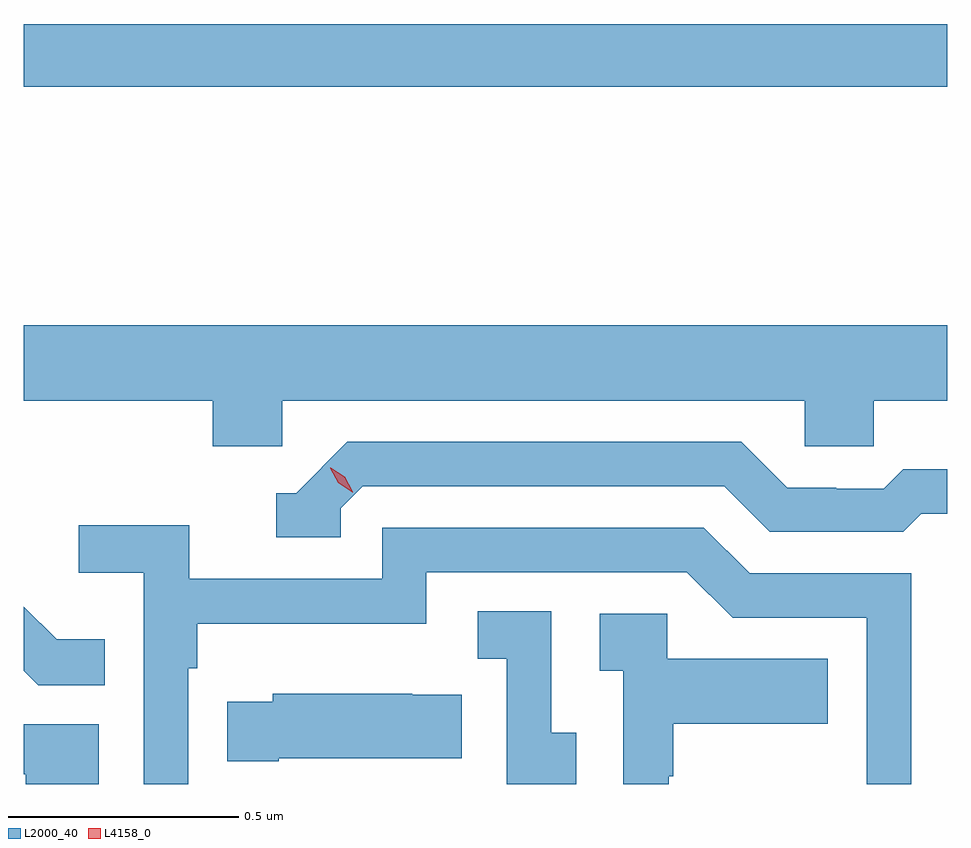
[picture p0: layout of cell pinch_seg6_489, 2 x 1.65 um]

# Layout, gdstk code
import gdstk
lib = gdstk.Library(unit=1e-6, precision=1e-09)
def R(c, l, rs):  # rectangles x0, y0, x1, y1
    for r in rs: c.add(gdstk.rectangle(r[:2], r[2:], *l))
def P(c, l, *ps):  # polygons
    for p in ps: c.add(gdstk.Polygon(p, *l))
L2000_40 = (2000, 40)
L4158_0 = (4158, 0)

pinch_seg6_489 = lib.new_cell('pinch_seg6_489')
R(pinch_seg6_489, L2000_40, [(877.516,933.364,879.516,933.5)])
P(pinch_seg6_489, L2000_40, [(878.076,932.684),(879.207,932.684),(879.207,932.586),(879.357,932.586),(879.357,932.684),(879.516,932.684),(879.516,932.848),(877.516,932.848),(877.516,932.684),(877.925,932.684),(877.925,932.586),(878.076,932.586)],
  [(878.202,932.451),(878.25,932.499),(879.033,932.499),(879.132,932.4),(879.421,932.4),(879.46,932.439),(879.516,932.439),(879.516,932.536),(879.421,932.536),(879.379,932.493),(879.276,932.493),(879.276,932.496),(879.169,932.496),(879.07,932.595),(878.217,932.595),(878.106,932.484),(878.063,932.484),(878.063,932.388),(878.202,932.388)],
  [(877.872,932.105),(877.892,932.105),(877.892,932.201),(878.388,932.201),(878.388,932.313),(878.952,932.313),(879.051,932.214),(879.342,932.214),(879.342,931.854),(879.438,931.854),(879.438,932.31),(879.088,932.31),(878.989,932.409),(878.292,932.409),(878.292,932.298),(877.874,932.298),(877.874,932.414),(877.635,932.414),(877.635,932.312),(877.776,932.312),(877.776,931.854),(877.872,931.854)],
  [(877.691,932.167),(877.587,932.167),(877.516,932.238),(877.516,932.099),(877.547,932.068),(877.691,932.068)],
  [(878.713,931.965),(878.658,931.965),(878.658,932.228),(878.499,932.228),(878.499,932.125),(878.562,932.125),(878.562,931.854),(878.713,931.854)],
  [(878.913,931.871),(878.923,931.871),(878.923,931.985),(879.257,931.985),(879.257,932.125),(878.91,932.125),(878.91,932.223),(878.763,932.223),(878.763,932.099),(878.814,932.099),(878.814,931.854),(878.913,931.854)],
  [(878.068,931.91),(878.465,931.91),(878.465,932.047),(878.357,932.047),(878.357,932.05),(878.055,932.05),(878.055,932.032),(877.957,932.032),(877.957,931.903),(878.068,931.903)],
  [(877.678,931.983),(877.516,931.983),(877.516,931.875),(877.52,931.875),(877.52,931.854),(877.678,931.854)])
P(pinch_seg6_489, L4158_0, [(878.227,932.486),(878.197,932.506),(878.18,932.538),(878.18,932.539),(878.181,932.539),(878.211,932.519),(878.228,932.487),(878.228,932.486)])

lib.write_gds('pinch_seg6_489.gds')
